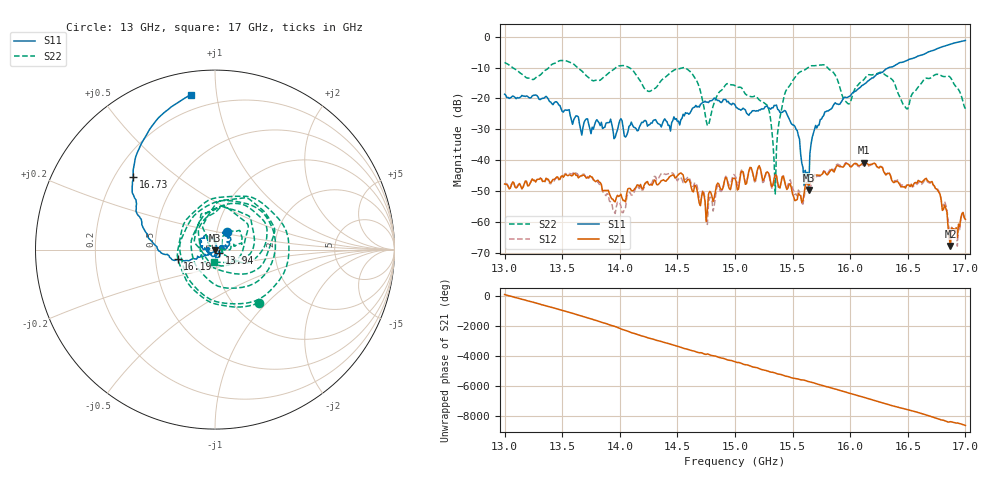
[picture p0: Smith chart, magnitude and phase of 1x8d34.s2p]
!Keysight Technologies,P9374A,MY57211807,A.19.30.04
!Date: Friday, May 08, 2026 15:19:37
!Correction: S11(C  2-Port  )
!S21(C  2-Port  )
!S12(C  2-Port  )
!S22(C  2-Port  )
!S2P File: Measurements: S11, S21, S12, S22:
# Hz S  dB  R 50
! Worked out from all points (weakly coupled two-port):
!   401 points, 13 GHz to 17 GHz, reference 50 ohm
!   highest |S21| = -40.83 dB at 16.12 GHz (marker M1); lowest = -67.9 dB at 16.87 GHz (marker M2)
!   lowest |S11| = -49.7 dB at 15.64 GHz (marker M3), VSWR 1.01, Z = 49.9 - j0.306 ohm
!   |S11| at or under -10 dB: start of sweep to 16.33 GHz
!   |S22| runs from -51.0 to -7.7 dB; largest |S21 - S12| = 0.0019
!   S11 on the Smith chart (normalised r, x): 13 GHz: 1.12, +0.22; 13.94 GHz: 1.05, -0.04; 16.19 GHz: 0.65, -0.07; 16.73 GHz: 0.27, +0.36; 17 GHz: 0.12, +0.85
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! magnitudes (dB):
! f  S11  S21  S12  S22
! 13 GHz  -18.6  -47.7  -47.7  -8.3
! 13.67 GHz  -31.9  -45.1  -44.8  -11.1
! 13.94 GHz  -30.1  -52.7  -56.0  -10.8
! 14.34 GHz  -28.3  -47.7  -45.6  -15.2
! 14.59 GHz  -24.8  -46.2  -45.4  -10.6
! 14.77 GHz  -21.3  -51.0  -54.1  -28.6
! 15 GHz  -22.0  -45.9  -45.0  -15.9
! 15.27 GHz  -22.5  -44.1  -44.3  -21.9
! 15.35 GHz  -22.3  -44.8  -45.3  -51.0
! 15.44 GHz  -24.1  -48.4  -47.9  -17.7
! 15.54 GHz  -30.4  -52.8  -51.6  -12.2
! 15.62 GHz  -44.8  -47.4  -48.5  -10.4
! 15.64 GHz  -49.7  -48.2  -49.7  -9.8
! 15.67 GHz  -32.7  -46.9  -47.9  -9.4
! 15.98 GHz  -19.6  -41.2  -41.1  -21.7
! 16.12 GHz  -15.4  -40.8  -41.2  -13.8
! 16.19 GHz  -13.3  -41.3  -41.4  -12.3
! 16.34 GHz  -9.9  -44.2  -44.1  -13.1
! 16.49 GHz  -7.7  -48.2  -48.1  -23.4
! 16.73 GHz  -4.3  -48.3  -48.4  -12.4
! 16.87 GHz  -2.4  -67.9  -64.5  -13.2
! 17 GHz  -1.2  -59.2  -59.7  -23.3
